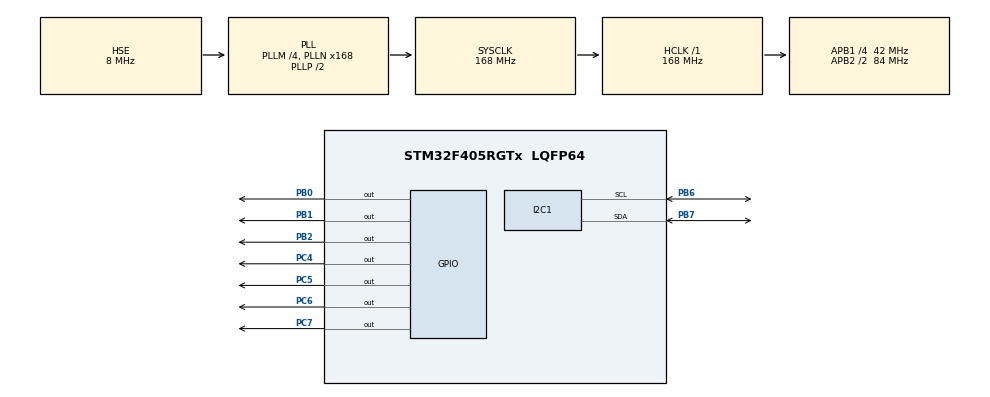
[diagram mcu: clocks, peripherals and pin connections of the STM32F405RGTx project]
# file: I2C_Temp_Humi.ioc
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I2C1.I2C_Mode=I2C_Fast
Mcu.Family=STM32F4
Mcu.Name=STM32F405RGTx
Mcu.Package=LQFP64
NVIC.PriorityGroup=NVIC_PRIORITYGROUP_4
PA13.Mode=Serial_Wire
PA13.Signal=SYS_JTMS-SWDIO
PA14.Mode=Serial_Wire
PA14.Signal=SYS_JTCK-SWCLK
PB0.Signal=GPIO_Output
PB1.Signal=GPIO_Output
PB2.Signal=GPIO_Output
PB6.Mode=I2C
PB6.Signal=I2C1_SCL
PB7.Mode=I2C
PB7.Signal=I2C1_SDA
PC4.Signal=GPIO_Output
PC5.Signal=GPIO_Output
PC6.Signal=GPIO_Output
PC7.Signal=GPIO_Output
PH0-OSC_IN.Mode=HSE-External-Oscillator
PH0-OSC_IN.Signal=RCC_OSC_IN
PH1-OSC_OUT.Mode=HSE-External-Oscillator
PH1-OSC_OUT.Signal=RCC_OSC_OUT
ProjectManager.HeapSize=0x200
ProjectManager.StackSize=0x400
ProjectManager.TargetToolchain=EWARM V8.32
RCC.48MHZClocksFreq_Value=84000000
RCC.AHBFreq_Value=168000000
RCC.APB1CLKDivider=RCC_HCLK_DIV4
RCC.APB1Freq_Value=42000000
RCC.APB1TimFreq_Value=84000000
RCC.APB2CLKDivider=RCC_HCLK_DIV2
RCC.APB2Freq_Value=84000000
RCC.APB2TimFreq_Value=168000000
RCC.CortexFreq_Value=168000000
RCC.HCLKFreq_Value=168000000
RCC.HSE_VALUE=8000000
RCC.HSI_VALUE=16000000
RCC.LSE_VALUE=32768
RCC.PLLM=4
RCC.PLLN=168
RCC.PLLSourceVirtual=RCC_PLLSOURCE_HSE
RCC.SYSCLKFreq_VALUE=168000000
RCC.SYSCLKSource=RCC_SYSCLKSOURCE_PLLCLK
RCC.VCOOutputFreq_Value=336000000
board=custom

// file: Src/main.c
/* USER CODE BEGIN Header */
/**
  ******************************************************************************
  * @file           : main.c
  * @brief          : Main program body
  ******************************************************************************
  * @attention
  *
  * <h2><center>&copy; Copyright (c) 2020 STMicroelectronics.
  * All rights reserved.</center></h2>
  *
  * This software component is licensed by ST under BSD 3-Clause license,
  * the "License"; You may not use this file except in compliance with the
  * License. You may obtain a copy of the License at:
  *                        opensource.org/licenses/BSD-3-Clause
  *
  ******************************************************************************
  */
/* USER CODE END Header */

#include "main.h"
#include "i2c.h"
#include "gpio.h"

/* USER CODE BEGIN Includes */
#include "lcd.h"
#include "stdio.h"
/* USER CODE END Includes */

/* USER CODE BEGIN PD */
#define SHT2x_ADDR              0x40<<1
#define SHT2x_HOLD_MASTER_T     0xE3
#define SHT2x_HOLD_MASTER_RH    0xE5
#define SHT2x_NOHOLD_MASTER_T   0xF3
#define SHT2x_NOHOLD_MASTER_RH  0xF5
#define SHT2x_WRITE_USER_REG    0xE6
#define SHT2x_READ_USER_REG     0xE7
#define SHT2x_SOFT_RESET        0xFE
/* USER CODE END PD */

/* USER CODE BEGIN PV */
uint8_t i2cData[2];
uint16_t val=0;
uint8_t mode;
float TEMP,HUMI;
char str[16];
/* USER CODE END PV */

void SystemClock_Config(void);

int main(void)
{

  /* MCU Configuration--------------------------------------------------------*/

  /* Reset of all peripherals, Initializes the Flash interface and the Systick. */
  HAL_Init();

  /* Configure the system clock */
  SystemClock_Config();

  /* Initialize all configured peripherals */
  MX_GPIO_Init();
  MX_I2C1_Init();
  /* USER CODE BEGIN 2 */
  lcdInit();
  /* USER CODE END 2 */

  /* Infinite loop */
  /* USER CODE BEGIN WHILE */
  while (1)
  {
    mode= SHT2x_NOHOLD_MASTER_T; //mode 설정.

    HAL_I2C_Master_Transmit(&hi2c1,SHT2x_ADDR,&mode,1,10); //mode 설정 명령.
    HAL_Delay(100);
    HAL_I2C_Master_Receive(&hi2c1,SHT2x_ADDR,i2cData,2,10); // 온도 데이터 받기.

    val = i2cData[0] <<8 | i2cData[1];

    TEMP=-46.85 + 175.72*((float)val/65536);

    lcdGotoXY(0,0);
    sprintf(str,"TEMP : %.2lf`C",TEMP);
    lcdPrint(str);

    //HAL_Delay(100);

    mode= SHT2x_NOHOLD_MASTER_RH;
    HAL_I2C_Master_Transmit(&hi2c1,SHT2x_ADDR,&mode,1,10); //mode 설정 명령.
    HAL_Delay(100);
    HAL_I2C_Master_Receive(&hi2c1,SHT2x_ADDR,i2cData,2,10); // 온도 데이터 받기.

    val = i2cData[0] <<8 | i2cData[1];
    HUMI= -6+125*((float)val/65536);
    lcdGotoXY(0,1);
    sprintf(str,"HUMI : %.2lf%",HUMI);
    lcdPrint(str);

    //HAL_Delay(100);

    /* USER CODE END WHILE */

  }
}

void SystemClock_Config(void)
{
  RCC_OscInitTypeDef RCC_OscInitStruct = {0};
  RCC_ClkInitTypeDef RCC_ClkInitStruct = {0};

  /** Configure the main internal regulator output voltage
  */
  __HAL_RCC_PWR_CLK_ENABLE();
  __HAL_PWR_VOLTAGESCALING_CONFIG(PWR_REGULATOR_VOLTAGE_SCALE1);
  /** Initializes the CPU, AHB and APB busses clocks
  */
  RCC_OscInitStruct.OscillatorType = RCC_OSCILLATORTYPE_HSE;
  RCC_OscInitStruct.HSEState = RCC_HSE_ON;
  RCC_OscInitStruct.PLL.PLLState = RCC_PLL_ON;
  RCC_OscInitStruct.PLL.PLLSource = RCC_PLLSOURCE_HSE;
  RCC_OscInitStruct.PLL.PLLM = 4;
  RCC_OscInitStruct.PLL.PLLN = 168;
  RCC_OscInitStruct.PLL.PLLP = RCC_PLLP_DIV2;
  RCC_OscInitStruct.PLL.PLLQ = 4;
  if (HAL_RCC_OscConfig(&RCC_OscInitStruct) != HAL_OK)
  {
    Error_Handler();
  }
  /** Initializes the CPU, AHB and APB busses clocks
  */
  RCC_ClkInitStruct.ClockType = RCC_CLOCKTYPE_HCLK|RCC_CLOCKTYPE_SYSCLK
                              |RCC_CLOCKTYPE_PCLK1|RCC_CLOCKTYPE_PCLK2;
  RCC_ClkInitStruct.SYSCLKSource = RCC_SYSCLKSOURCE_PLLCLK;
  RCC_ClkInitStruct.AHBCLKDivider = RCC_SYSCLK_DIV1;
  RCC_ClkInitStruct.APB1CLKDivider = RCC_HCLK_DIV4;
  RCC_ClkInitStruct.APB2CLKDivider = RCC_HCLK_DIV2;

  if (HAL_RCC_ClockConfig(&RCC_ClkInitStruct, FLASH_LATENCY_5) != HAL_OK)
  {
    Error_Handler();
  }
}

void Error_Handler(void)
{
}

/************************ (C) COPYRIGHT STMicroelectronics *****END OF FILE****/
